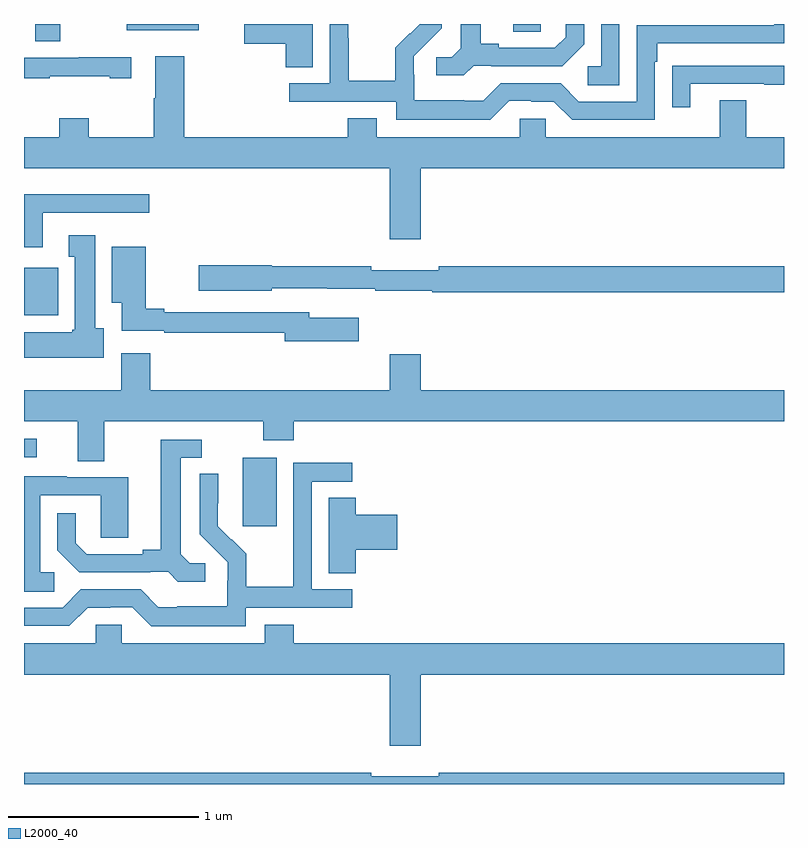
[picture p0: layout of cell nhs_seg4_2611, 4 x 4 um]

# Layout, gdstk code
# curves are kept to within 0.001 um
import gdstk
lib = gdstk.Library(unit=1e-6, precision=1e-09)
def R(c, l, rs):  # rectangles x0, y0, x1, y1
    for r in rs: c.add(gdstk.rectangle(r[:2], r[2:], *l))
def P(c, l, *ps):  # polygons
    for p in ps: c.add(gdstk.Polygon(p, *l))
L2000_40 = (2000, 40)

nhs_seg4_2611 = lib.new_cell('nhs_seg4_2611')
R(nhs_seg4_2611, L2000_40, [(248.15,808.257,248.329,808.618), (247,808.62,247.066,808.716), (247,809.366,247.179,809.617), (247.058,810.808,247.192,810.9), (249.575,810.859,249.72,810.9), (247.541,810.866,247.921,810.9)])
P(nhs_seg4_2611, L2000_40, [(250.134,810.9),(250.038,810.9),(250.038,810.678),(249.966,810.678),(249.966,810.577),(250.134,810.577)],
  [(248.521,810.9),(248.16,810.9),(248.16,810.797),(248.378,810.797),(248.378,810.673),(248.521,810.673)],
  [(249.555,810.495),(249.671,810.495),(249.671,810.492),(249.789,810.492),(249.885,810.396),(250.32,810.396),(250.32,810.701),(250.333,810.701),(250.333,810.798),(251,810.798),(251,810.9),(250.949,810.9),(250.949,810.894),(250.224,810.894),(250.224,810.492),(249.921,810.492),(249.825,810.588),(249.51,810.588),(249.417,810.495),(249.317,810.495),(249.317,810.499),(249.054,810.499),(249.054,810.633),(249.052,810.633),(249.052,810.73),(249.198,810.878),(249.198,810.9),(249.084,810.9),(249.033,810.849),(249.03,810.852),(248.953,810.775),(248.953,810.601),(248.709,810.601),(248.709,810.824),(248.706,810.824),(248.706,810.9),(248.61,810.9),(248.61,810.588),(248.397,810.588),(248.397,810.492),(248.958,810.492),(248.958,810.395),(249.455,810.395)],
  [(249.366,810.681),(249.46,810.681),(249.46,810.678),(249.832,810.678),(249.948,810.794),(249.948,810.9),(249.851,810.9),(249.851,810.831),(249.794,810.774),(249.499,810.774),(249.499,810.797),(249.403,810.797),(249.403,810.9),(249.299,810.9),(249.299,810.773),(249.252,810.726),(249.171,810.726),(249.171,810.629),(249.314,810.629)],
  [(249.088,810.14),(251,810.14),(251,810.304),(250.801,810.304),(250.801,810.499),(250.661,810.499),(250.661,810.304),(249.747,810.304),(249.747,810.402),(249.609,810.402),(249.609,810.304),(248.857,810.304),(248.857,810.403),(248.705,810.403),(248.705,810.304),(247.844,810.304),(247.844,810.73),(247.691,810.73),(247.691,810.509),(247.684,810.509),(247.684,810.304),(247.341,810.304),(247.341,810.403),(247.186,810.403),(247.186,810.304),(247,810.304),(247,810.14),(248.924,810.14),(248.924,809.766),(249.088,809.766)],
  [(247.136,810.625),(247.451,810.625),(247.451,810.615),(247.564,810.615),(247.564,810.725),(247.288,810.725),(247.288,810.723),(247,810.723),(247,810.615),(247.136,810.615)],
  [(250.507,810.585),(250.897,810.585),(250.897,810.58),(251,810.58),(251,810.681),(250.513,810.681),(250.513,810.68),(250.411,810.68),(250.411,810.462),(250.507,810.462)],
  [(247.099,809.907),(247.66,809.907),(247.66,810.004),(247,810.004),(247,809.726),(247.099,809.726)],
  [(247.42,809.298),(247.375,809.298),(247.375,809.788),(247.235,809.788),(247.235,809.675),(247.268,809.675),(247.268,809.292),(247.255,809.292),(247.255,809.278),(247,809.278),(247,809.144),(247.42,809.144)],
  [(248.761,809.353),(248.5,809.353),(248.5,809.382),(247.738,809.382),(247.738,809.402),(247.642,809.402),(247.642,809.728),(247.463,809.728),(247.463,809.432),(247.514,809.432),(247.514,809.286),(247.738,809.286),(247.738,809.274),(248.372,809.274),(248.372,809.231),(248.761,809.231)],
  [(251,809.624),(249.184,809.624),(249.184,809.605),(248.828,809.605),(248.828,809.624),(248.304,809.624),(248.304,809.63),(247.92,809.63),(247.92,809.495),(248.304,809.495),(248.304,809.508),(248.596,809.508),(248.596,809.507),(248.848,809.507),(248.848,809.496),(249.148,809.496),(249.148,809.488),(251,809.488)],
  [(247.423,808.808),(248.26,808.808),(248.26,808.709),(248.42,808.709),(248.42,808.808),(251,808.808),(251,808.972),(249.088,808.972),(249.088,809.161),(248.924,809.161),(248.924,808.972),(247.664,808.972),(247.664,809.167),(247.511,809.167),(247.511,808.972),(247,808.972),(247,808.808),(247.283,808.808),(247.283,808.6),(247.423,808.6)],
  [(247.954,808.062),(247.872,808.062),(247.825,808.109),(247.825,808.617),(247.936,808.617),(247.936,808.713),(247.721,808.713),(247.721,808.133),(247.625,808.133),(247.625,808.11),(247.33,808.11),(247.273,808.167),(247.273,808.324),(247.176,808.324),(247.176,808.13),(247.292,808.014),(247.664,808.014),(247.664,808.017),(247.758,808.017),(247.81,807.965),(247.954,807.965)],
  [(248.166,807.828),(248.728,807.828),(248.728,807.924),(248.514,807.924),(248.514,808.491),(248.728,808.491),(248.728,808.59),(248.418,808.59),(248.418,808.16),(248.416,808.16),(248.416,807.937),(248.171,807.937),(248.171,808.111),(248.094,808.188),(248.091,808.185),(248.021,808.256),(248.022,808.532),(247.926,808.532),(247.926,808.214),(248.072,808.066),(248.072,807.969),(248.07,807.969),(248.07,807.835),(247.807,807.835),(247.807,807.831),(247.707,807.831),(247.614,807.924),(247.299,807.924),(247.203,807.828),(247,807.828),(247,807.732),(247.239,807.732),(247.335,807.828),(247.454,807.828),(247.454,807.831),(247.569,807.831),(247.669,807.731),(248.166,807.731)],
  [(247.159,808.014),(247.086,808.014),(247.086,808.419),(247.404,808.419),(247.404,808.195),(247.549,808.195),(247.549,808.515),(247.225,808.515),(247.225,808.519),(247,808.519),(247,807.913),(247.159,807.913)],
  [(248.747,808.133),(248.965,808.133),(248.965,808.316),(248.747,808.316),(248.747,808.406),(248.603,808.406),(248.603,808.009),(248.747,808.009)],
  [(249.088,807.476),(251,807.476),(251,807.64),(248.42,807.64),(248.42,807.739),(248.267,807.739),(248.267,807.64),(247.515,807.64),(247.515,807.738),(247.377,807.738),(247.377,807.64),(247,807.64),(247,807.476),(248.924,807.476),(248.924,807.102),(249.088,807.102)],
  [(251,806.96),(249.184,806.96),(249.184,806.941),(248.828,806.941),(248.828,806.96),(247,806.96),(247,806.9),(251,806.9)])

lib.write_gds('nhs_seg4_2611.gds')
